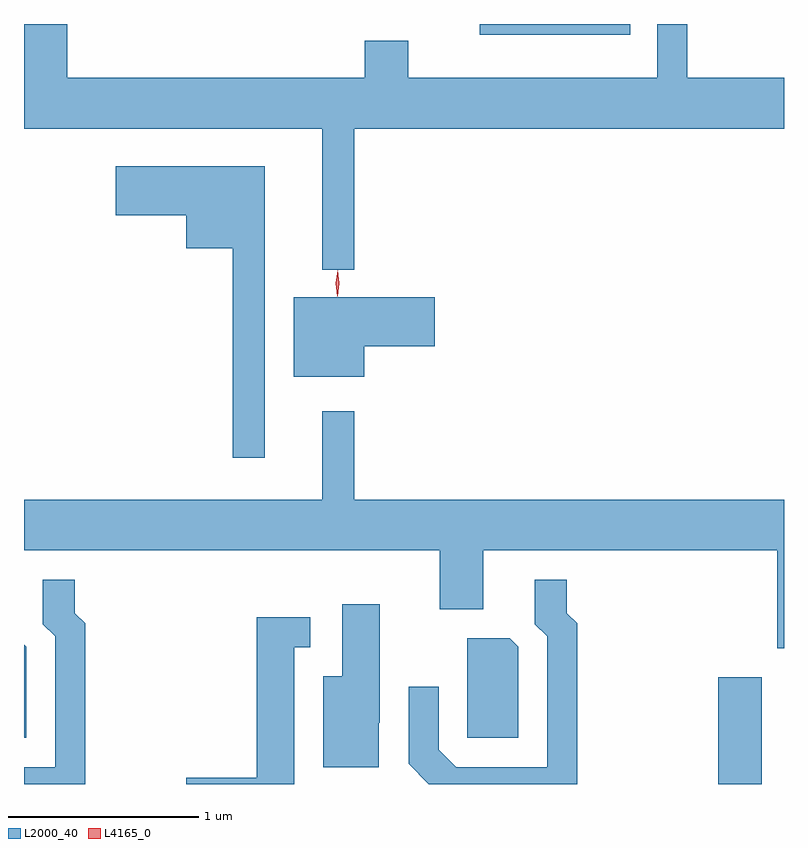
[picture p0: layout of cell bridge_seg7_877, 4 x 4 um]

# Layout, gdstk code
import gdstk
lib = gdstk.Library(unit=1e-6, precision=1e-09)
def R(c, l, rs):  # rectangles x0, y0, x1, y1
    for r in rs: c.add(gdstk.rectangle(r[:2], r[2:], *l))
def P(c, l, *ps):  # polygons
    for p in ps: c.add(gdstk.Polygon(p, *l))
L2000_40 = (2000, 40)
L4165_0 = (4165, 0)

bridge_seg7_877 = lib.new_cell('bridge_seg7_877')
R(bridge_seg7_877, L2000_40, [(541.476,1684.227,541.704,1684.789), (540.221,1688.171,541.013,1688.227)])
P(bridge_seg7_877, L2000_40, [(539.559,1687.676),(541.822,1687.676),(541.822,1687.944),(541.314,1687.944),(541.314,1688.227),(541.156,1688.227),(541.156,1687.944),(539.844,1687.944),(539.844,1688.139),(539.616,1688.139),(539.616,1687.944),(538.049,1687.944),(538.049,1688.227),(537.822,1688.227),(537.822,1687.676),(539.391,1687.676),(539.391,1686.933),(539.559,1686.933)],
  [(539.089,1687.479),(538.306,1687.479),(538.306,1687.221),(538.676,1687.221),(538.676,1687.046),(538.921,1687.046),(538.921,1685.943),(539.089,1685.943)],
  [(539.614,1686.531),(539.984,1686.531),(539.984,1686.789),(539.241,1686.789),(539.241,1686.371),(539.614,1686.371)],
  [(541.822,1685.724),(539.559,1685.724),(539.559,1686.188),(539.391,1686.188),(539.391,1685.724),(537.822,1685.724),(537.822,1685.456),(540.011,1685.456),(540.011,1685.146),(540.239,1685.146),(540.239,1685.456),(541.786,1685.456),(541.786,1684.941),(541.822,1684.941)],
  [(538.144,1685.072),(538.089,1685.127),(538.089,1685.303),(537.921,1685.303),(537.921,1685.069),(537.986,1685.004),(537.986,1684.314),(537.822,1684.314),(537.822,1684.227),(538.144,1684.227)],
  [(540.734,1685.072),(540.679,1685.127),(540.679,1685.303),(540.511,1685.303),(540.511,1685.069),(540.576,1685.004),(540.576,1684.314),(540.097,1684.314),(540.004,1684.407),(540.004,1684.738),(539.846,1684.738),(539.846,1684.334),(539.953,1684.227),(540.734,1684.227)],
  [(539.689,1684.55),(539.694,1684.55),(539.694,1685.174),(539.496,1685.174),(539.496,1684.794),(539.396,1684.794),(539.396,1684.316),(539.689,1684.316)],
  [(539.244,1684.946),(539.328,1684.946),(539.328,1685.104),(539.046,1685.104),(539.046,1684.259),(538.676,1684.259),(538.676,1684.227),(539.244,1684.227)],
  [(540.424,1684.949),(540.379,1684.994),(540.156,1684.994),(540.156,1684.471),(540.424,1684.471)],
  [(537.834,1684.949),(537.822,1684.961),(537.822,1684.471),(537.834,1684.471)])
P(bridge_seg7_877, L4165_0, [(539.471,1686.8),(539.47,1686.801),(539.462,1686.864),(539.472,1686.926),(539.473,1686.927),(539.474,1686.926),(539.482,1686.863),(539.471,1686.801)],
  [(539.471,1686.794),(539.471,1686.794),(539.462,1686.862),(539.472,1686.93),(539.473,1686.93),(539.474,1686.93),(539.482,1686.862),(539.472,1686.794)])

lib.write_gds('bridge_seg7_877.gds')
